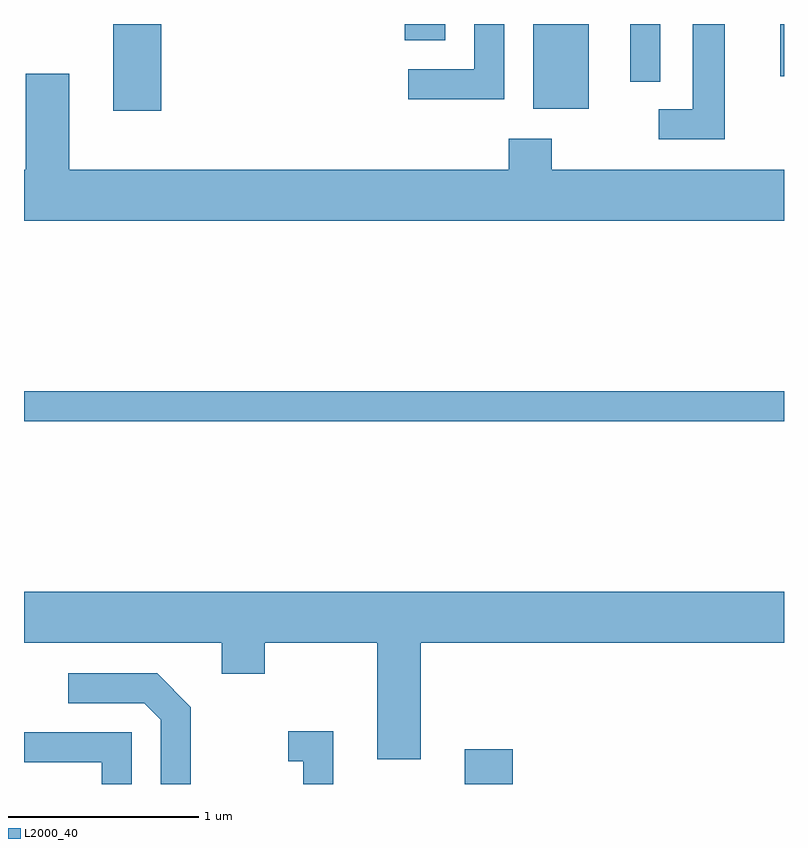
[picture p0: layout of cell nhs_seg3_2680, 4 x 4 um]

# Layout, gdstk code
import gdstk
lib = gdstk.Library(unit=1e-6, precision=1e-09)
def R(c, l, rs):  # rectangles x0, y0, x1, y1
    for r in rs: c.add(gdstk.rectangle(r[:2], r[2:], *l))
def P(c, l, *ps):  # polygons
    for p in ps: c.add(gdstk.Polygon(p, *l))
L2000_40 = (2000, 40)

nhs_seg3_2680 = lib.new_cell('nhs_seg3_2680')
R(nhs_seg3_2680, L2000_40, [(265.931,1171.892,266.184,1172.074), (263.611,1173.801,267.611,1173.959), (264.081,1175.436,264.334,1175.892), (266.291,1175.446,266.584,1175.892), (266.801,1175.588,266.959,1175.892), (267.591,1175.616,267.611,1175.892), (265.616,1175.806,265.829,1175.892)])
P(nhs_seg3_2680, L2000_40, [(266.139,1175.892),(265.981,1175.892),(265.981,1175.654),(265.633,1175.654),(265.633,1175.496),(266.139,1175.496)],
  [(267.299,1175.892),(267.131,1175.892),(267.131,1175.444),(266.953,1175.444),(266.953,1175.286),(267.299,1175.286)],
  [(267.611,1175.124),(266.389,1175.124),(266.389,1175.289),(266.161,1175.289),(266.161,1175.124),(263.849,1175.124),(263.849,1175.629),(263.621,1175.629),(263.621,1175.124),(263.611,1175.124),(263.611,1174.856),(267.611,1174.856)],
  [(265.699,1172.636),(267.611,1172.636),(267.611,1172.904),(263.611,1172.904),(263.611,1172.636),(264.651,1172.636),(264.651,1172.471),(264.879,1172.471),(264.879,1172.636),(265.471,1172.636),(265.471,1172.021),(265.699,1172.021)],
  [(264.489,1172.297),(264.312,1172.474),(263.843,1172.474),(263.843,1172.316),(264.244,1172.316),(264.331,1172.229),(264.331,1171.892),(264.489,1171.892)],
  [(265.239,1172.169),(265.003,1172.169),(265.003,1172.011),(265.081,1172.011),(265.081,1171.892),(265.239,1171.892)],
  [(264.179,1172.164),(263.611,1172.164),(263.611,1172.006),(264.021,1172.006),(264.021,1171.892),(264.179,1171.892)])

lib.write_gds('nhs_seg3_2680.gds')
